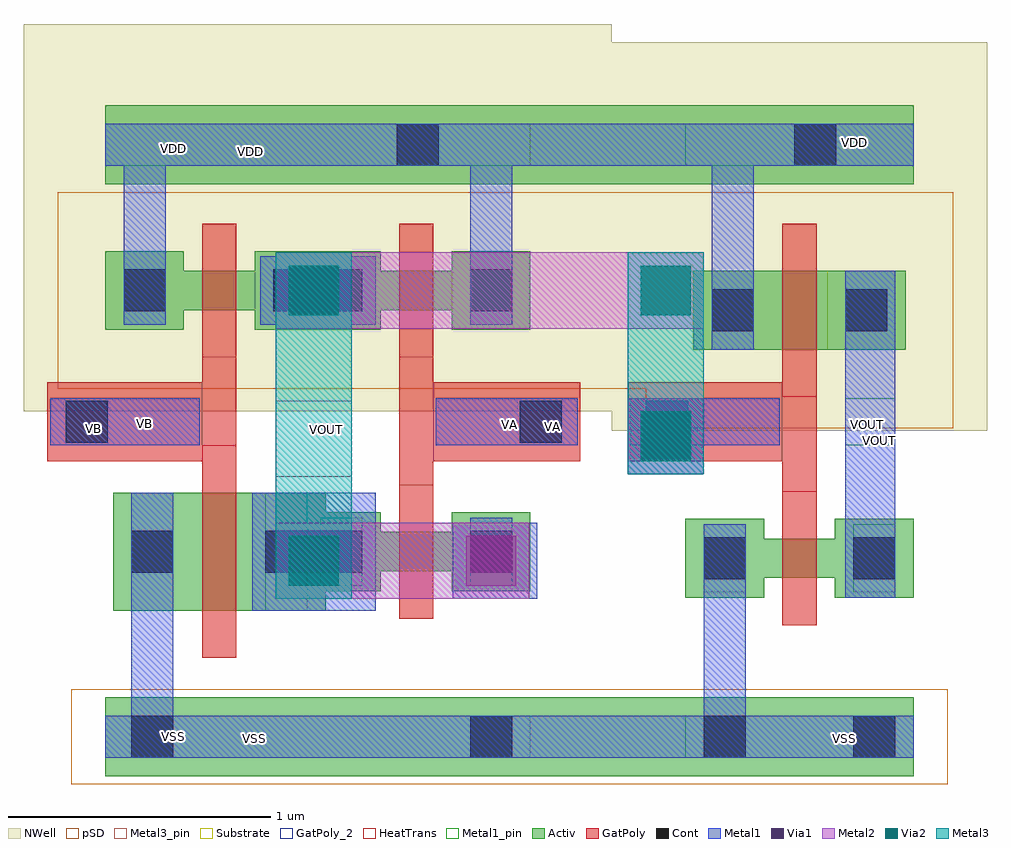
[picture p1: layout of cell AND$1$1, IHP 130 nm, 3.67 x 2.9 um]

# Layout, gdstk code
import gdstk
lib = gdstk.Library(unit=1e-6, precision=5e-09)
def R(c, l, rs):  # rectangles x0, y0, x1, y1
    for r in rs: c.add(gdstk.rectangle(r[:2], r[2:], *l))
Activ = (1, 0)
GatPoly = (5, 0)
GatPoly_2 = (5, 2)
Cont = (6, 0)
Metal1 = (8, 0)
Metal1_pin = (8, 2)
Metal2 = (10, 0)
pSD = (14, 0)
Via1 = (19, 0)
Via2 = (29, 0)
Metal3 = (30, 0)
Metal3_pin = (30, 2)
NWell = (31, 0)
Substrate = (40, 0)
HeatTrans = (51, 0)

nmos_2_1_1 = lib.new_cell('nmos$2$1$1')
R(nmos_2_1_1, Activ, [(0,0.01,0.3,0.31), (0.57,0.01,0.87,0.31), (0,0.085,0.87,0.235)])
R(nmos_2_1_1, GatPoly, [(0.37,-0.095,0.5,0.415)])
R(nmos_2_1_1, GatPoly_2, [(0.37,-0.095,0.5,0.415)])
R(nmos_2_1_1, Cont, [(0.07,0.08,0.23,0.24), (0.64,0.08,0.8,0.24)])
R(nmos_2_1_1, Metal1, [(0.07,0.03,0.23,0.29), (0.64,0.03,0.8,0.29)])
R(nmos_2_1_1, Metal1_pin, [(0.07,0.03,0.23,0.29), (0.64,0.03,0.8,0.29)])
R(nmos_2_1_1, HeatTrans, [(0.37,-0.095,0.5,0.415)])
nmos_2_1_1.add(gdstk.Label('nmos', (0.435,0.16), layer=63, texttype=0))
nmos_2_1_1.add(gdstk.Label('nmos', (0.435,0.16), layer=51, texttype=0))

pmos_3_3 = lib.new_cell('pmos$3$3')
R(pmos_3_3, Activ, [(0,0.01,0.3,0.31), (0.57,0.01,0.87,0.31), (0,0.085,0.87,0.235)])
R(pmos_3_3, GatPoly, [(0.37,-0.095,0.5,0.415), (0.37,-0.095,0.5,0.415)])
R(pmos_3_3, Cont, [(0.07,0.08,0.23,0.24), (0.64,0.08,0.8,0.24)])
R(pmos_3_3, Metal1, [(0.07,0.03,0.23,0.29), (0.07,0.03,0.23,0.29), (0.64,0.03,0.8,0.29), (0.64,0.03,0.8,0.29)])
R(pmos_3_3, pSD, [(-0.18,-0.215,1.05,0.535)])
R(pmos_3_3, NWell, [(-0.31,-0.3,1.18,0.61)])
R(pmos_3_3, Substrate, [(0.57,0.01,0.87,0.31)])
R(pmos_3_3, HeatTrans, [(0.37,-0.095,0.5,0.415)])
pmos_3_3.add(gdstk.Label('pmos', (0.435,0.16), layer=63, texttype=0))
pmos_3_3.add(gdstk.Label('pmos', (0.435,0.16), layer=51, texttype=0))

via1_constraint_1_2_1 = lib.new_cell('Via1_constraint$1$2$1')
R(via1_constraint_1_2_1, Metal1, [(-0.005,0.015,0.285,0.305)])
R(via1_constraint_1_2_1, Metal2, [(-0.005,0.015,0.285,0.305)])
R(via1_constraint_1_2_1, Via1, [(0.045,0.065,0.235,0.255)])

nmos_1_2_1 = lib.new_cell('nmos$1$2$1')
R(nmos_1_2_1, Activ, [(0,0.01,0.81,0.46), (0,0.01,0.3,0.31), (0.51,0.01,0.81,0.31)])
R(nmos_1_2_1, GatPoly, [(0.34,-0.17,0.47,0.64)])
R(nmos_1_2_1, GatPoly_2, [(0.34,-0.17,0.47,0.64)])
R(nmos_1_2_1, Cont, [(0.07,0.155,0.23,0.315), (0.58,0.155,0.74,0.315)])
R(nmos_1_2_1, Metal1, [(0.07,0.01,0.23,0.46), (0.58,0.01,0.74,0.46)])
R(nmos_1_2_1, Metal1_pin, [(0.07,0.01,0.23,0.46), (0.58,0.01,0.74,0.46)])
R(nmos_1_2_1, HeatTrans, [(0.34,-0.17,0.47,0.64)])
nmos_1_2_1.add(gdstk.Label('nmos', (0.405,0.235), layer=63, texttype=0))
nmos_1_2_1.add(gdstk.Label('nmos', (0.405,0.235), layer=51, texttype=0))

via2_constraint_1_2_1 = lib.new_cell('Via2_constraint$1$2$1')
R(via2_constraint_1_2_1, Metal2, [(0,0.01,0.29,0.3)])
R(via2_constraint_1_2_1, Via2, [(0.05,0.06,0.24,0.25)])
R(via2_constraint_1_2_1, Metal3, [(0,0.01,0.29,0.3)])

nand_1_1 = lib.new_cell('NAND$1$1')
R(nand_1_1, Activ, [(0.31,0.04,1.93,0.34), (0.31,2.295,1.93,2.595)])
R(nand_1_1, GatPoly, [(0.09,1.24,0.68,1.54), (1.56,1.24,2.12,1.54)])
R(nand_1_1, GatPoly_2, [(0.09,1.24,0.68,1.54), (1.56,1.24,2.12,1.54)])
R(nand_1_1, Cont, [(0.41,0.11,0.57,0.27), (1.7,0.11,1.86,0.27), (0.92,0.815,1.29,0.975), (0.16,1.31,0.32,1.47), (1.89,1.31,2.05,1.47), (0.95,1.81,1.29,1.97), (1.42,2.365,1.58,2.525)])
R(nand_1_1, Metal1, [(0.31,0.11,1.93,0.27), (0.87,0.67,1.34,1.12), (1.925,0.715,1.955,1.005), (0.1,1.3,0.67,1.48), (1.57,1.3,2.11,1.48), (0.9,1.76,1.34,2.02), (0.31,2.365,1.93,2.525)])
R(nand_1_1, Metal1_pin, [(0.31,0.11,1.93,0.27), (0.1,1.3,0.67,1.48), (1.57,1.3,2.11,1.48), (0.31,2.365,1.93,2.525)])
R(nand_1_1, pSD, [(0.18,0.01,2.06,0.37)])
R(nand_1_1, Metal3_pin, [(0.96,1.18,1.25,1.47)])
R(nand_1_1, NWell, [(0,2.34,2.24,2.905)])
nand_1_1.add(gdstk.FlexPath([(1.78,2.02),(1.78,2.365)], 0.16, ends="flush", simple_path=True, layer=8, datatype=0))  # Metal1
nand_1_1.add(gdstk.FlexPath([(0.46,2.02),(0.46,2.365)], 0.16, ends="flush", simple_path=True, layer=8, datatype=0))  # Metal1
nand_1_1.add(gdstk.FlexPath([(0.49,0.67),(0.49,0.27)], 0.16, ends="flush", simple_path=True, layer=8, datatype=0))  # Metal1
nand_1_1.add(gdstk.FlexPath([(0.745,1.635),(0.745,1.3)], 0.13, ends="flush", simple_path=True, layer=5, datatype=0))  # GatPoly
nand_1_1.add(gdstk.FlexPath([(1.495,1.635),(1.495,1.15)], 0.13, ends="flush", simple_path=True, layer=5, datatype=0))  # GatPoly
nand_1_1.add(gdstk.FlexPath([(1.635,0.86),(1.25,0.86)], 0.29, ends="flush", simple_path=True, layer=10, datatype=0))  # Metal2
nand_1_1.add(gdstk.FlexPath([(1.105,1.005),(1.105,1.745)], 0.29, ends="flush", simple_path=True, layer=30, datatype=0))  # Metal3
nand_1_1.add(gdstk.Reference(nmos_2_1_1, (1.06,0.735)))
nand_1_1.add(gdstk.Reference(pmos_3_3, (0.31,1.73)))
nand_1_1.add(gdstk.Reference(pmos_3_3, (1.06,1.73)))
nand_1_1.add(gdstk.Reference(via1_constraint_1_2_1, (0.965,1.73)))
nand_1_1.add(gdstk.Reference(via1_constraint_1_2_1, (1.64,0.7)))
nand_1_1.add(gdstk.Reference(nmos_1_2_1, (0.34,0.66)))
nand_1_1.add(gdstk.Reference(via2_constraint_1_2_1, (0.96,0.705)))
nand_1_1.add(gdstk.Reference(via2_constraint_1_2_1, (0.96,1.735)))
nand_1_1.add(gdstk.Label('VDD', (0.4,2.44), layer=8, texttype=25))
nand_1_1.add(gdstk.Label('VSS', (0.4,0.185), layer=8, texttype=25))
nand_1_1.add(gdstk.Label('VA', (1.95,1.365), layer=8, texttype=25))
nand_1_1.add(gdstk.Label('VB', (0.265,1.37), layer=8, texttype=25))

nmos_5_1 = lib.new_cell('nmos$5$1')
R(nmos_5_1, Activ, [(0,-0.025,0.3,0.275), (0.57,-0.025,0.87,0.275), (0,0.05,0.87,0.2)])
R(nmos_5_1, GatPoly, [(0.37,-0.13,0.5,0.38)])
R(nmos_5_1, GatPoly_2, [(0.37,-0.13,0.5,0.38)])
R(nmos_5_1, Cont, [(0.07,0.045,0.23,0.205), (0.64,0.045,0.8,0.205)])
R(nmos_5_1, Metal1, [(0.07,-0.005,0.23,0.255), (0.64,-0.005,0.8,0.255)])
R(nmos_5_1, Metal1_pin, [(0.07,-0.005,0.23,0.255), (0.64,-0.005,0.8,0.255)])
R(nmos_5_1, HeatTrans, [(0.37,-0.13,0.5,0.38)])
nmos_5_1.add(gdstk.Label('nmos', (0.435,0.125), layer=63, texttype=0))
nmos_5_1.add(gdstk.Label('nmos', (0.435,0.125), layer=51, texttype=0))

pmos_1_3_1 = lib.new_cell('pmos$1$3$1')
R(pmos_1_3_1, Activ, [(0,0,0.81,0.3), (0,0,0.3,0.3), (0.51,0,0.81,0.3)])
R(pmos_1_3_1, GatPoly, [(0.34,-0.18,0.47,0.48), (0.34,-0.18,0.47,0.48)])
R(pmos_1_3_1, Cont, [(0.07,0.07,0.23,0.23), (0.58,0.07,0.74,0.23)])
R(pmos_1_3_1, Metal1, [(0.07,0,0.23,0.3), (0.07,0,0.23,0.3), (0.58,0,0.74,0.3), (0.58,0,0.74,0.3)])
R(pmos_1_3_1, pSD, [(-0.18,-0.3,0.99,0.6)])
R(pmos_1_3_1, NWell, [(-0.31,-0.31,1.12,0.61)])
R(pmos_1_3_1, Substrate, [(0.51,0,0.81,0.3)])
R(pmos_1_3_1, HeatTrans, [(0.34,-0.18,0.47,0.48)])
pmos_1_3_1.add(gdstk.Label('pmos', (0.405,0.15), layer=63, texttype=0))
pmos_1_3_1.add(gdstk.Label('pmos', (0.405,0.15), layer=51, texttype=0))

inv_d1_3_1 = lib.new_cell('INV_D1$3$1')
R(inv_d1_3_1, Activ, [(-0.445,-1.44,0.425,-1.14), (-0.445,0.815,0.425,1.115)])
R(inv_d1_3_1, GatPoly, [(-0.665,-0.24,-0.075,0.06), (-0.075,-0.21,0.055,0.005)])
R(inv_d1_3_1, GatPoly_2, [(-0.665,-0.24,-0.075,0.06)])
R(inv_d1_3_1, Cont, [(-0.375,-1.37,-0.215,-1.21), (0.195,-1.37,0.355,-1.21), (-0.595,-0.17,-0.435,-0.01), (-0.03,0.885,0.13,1.045)])
R(inv_d1_3_1, Metal1, [(-0.445,-1.37,0.425,-1.21), (-0.655,-0.18,-0.085,0), (-0.445,0.885,0.425,1.045)])
R(inv_d1_3_1, Metal1_pin, [(-0.445,-1.37,0.425,-1.21), (-0.655,-0.18,-0.085,0), (0.165,-0.18,0.355,0), (-0.445,0.885,0.425,1.045)])
R(inv_d1_3_1, pSD, [(-0.575,-1.47,0.555,-1.11)])
R(inv_d1_3_1, NWell, [(-0.725,0.795,0.705,1.355)])
R(inv_d1_3_1, Substrate, [(0.095,0.185,0.395,0.485)])
inv_d1_3_1.add(gdstk.FlexPath([(-0.265,0.485),(-0.265,1.045)], 0.16, ends="flush", simple_path=True, layer=8, datatype=0))  # Metal1
inv_d1_3_1.add(gdstk.FlexPath([(0.26,-0.76),(0.26,0.485)], 0.19, ends="flush", simple_path=True, layer=8, datatype=0))  # Metal1
inv_d1_3_1.add(gdstk.FlexPath([(-0.295,-0.48),(-0.295,-1.37)], 0.16, ends="flush", simple_path=True, layer=8, datatype=0))  # Metal1
inv_d1_3_1.add(gdstk.FlexPath([(-0.01,-0.21),(-0.01,-0.355)], 0.13, ends="flush", simple_path=True, layer=5, datatype=0))  # GatPoly
inv_d1_3_1.add(gdstk.Reference(nmos_5_1, (-0.445,-0.735)))
inv_d1_3_1.add(gdstk.Reference(pmos_1_3_1, (-0.415,0.185)))
inv_d1_3_1.add(gdstk.Label('nmos', (-0.01,-0.69), layer=63, texttype=0))
inv_d1_3_1.add(gdstk.Label('VDD', (-0.07,0.96), layer=8, texttype=25))
inv_d1_3_1.add(gdstk.Label('VSS', (-0.075,-1.295), layer=8, texttype=25))

via2_constraint_4_1 = lib.new_cell('Via2_constraint$4$1')
R(via2_constraint_4_1, Metal2, [(0,0,0.29,0.29)])
R(via2_constraint_4_1, Via2, [(0.05,0.05,0.24,0.24)])
R(via2_constraint_4_1, Metal3, [(0,0,0.29,0.29)])

via1_constraint_4_1 = lib.new_cell('Via1_constraint$4$1')
R(via1_constraint_4_1, Metal1, [(0,0,0.29,0.29)])
R(via1_constraint_4_1, Metal2, [(0,0,0.29,0.29)])
R(via1_constraint_4_1, Via1, [(0.05,0.05,0.24,0.24)])

and_1_1 = lib.new_cell('AND$1$1')
R(and_1_1, Activ, [(1.93,0.03,2.52,0.33), (1.93,2.285,2.52,2.585)])
R(and_1_1, Metal1, [(1.93,0.1,2.52,0.26), (1.93,2.355,2.52,2.515)])
R(and_1_1, pSD, [(2.06,0,2.39,0.36), (2.11,1.505,2.37,2.255)])
and_1_1.add(gdstk.FlexPath([(2.3,1.88),(1.25,1.88)], 0.29, ends="flush", simple_path=True, layer=10, datatype=0))  # Metal2
and_1_1.add(gdstk.FlexPath([(2.445,1.735),(2.445,1.47)], 0.29, ends="flush", simple_path=True, layer=30, datatype=0))  # Metal3
and_1_1.add(gdstk.Reference(nand_1_1, (0,-0.01)))
and_1_1.add(gdstk.Reference(inv_d1_3_1, (2.965,1.47)))
and_1_1.add(gdstk.Reference(via2_constraint_4_1, (2.3,1.735)))
and_1_1.add(gdstk.Reference(via2_constraint_4_1, (2.3,1.18)))
and_1_1.add(gdstk.Reference(via1_constraint_4_1, (2.3,1.18)))
and_1_1.add(gdstk.Label('VDD', (3.165,2.445), layer=8, texttype=2))
and_1_1.add(gdstk.Label('VSS', (3.125,0.175), layer=8, texttype=2))
and_1_1.add(gdstk.Label('VSS', (0.88,0.175), layer=8, texttype=2))
and_1_1.add(gdstk.Label('VDD', (0.865,2.41), layer=8, texttype=2))
and_1_1.add(gdstk.Label('VB', (0.46,1.375), layer=8, texttype=2))
and_1_1.add(gdstk.Label('VA', (1.85,1.37), layer=8, texttype=2))
and_1_1.add(gdstk.Label('VOUT', (3.215,1.37), layer=8, texttype=2))
and_1_1.add(gdstk.Label('VSS', (0.57,0.18), layer=8, texttype=25))
and_1_1.add(gdstk.Label('VDD', (0.57,2.42), layer=8, texttype=25))
and_1_1.add(gdstk.Label('VA', (2.015,1.36), layer=8, texttype=25))
and_1_1.add(gdstk.Label('VB', (0.265,1.355), layer=8, texttype=25))
and_1_1.add(gdstk.Label('VOUT', (3.26,1.31), layer=8, texttype=25))
and_1_1.add(gdstk.Label('VOUT', (1.155,1.35), layer=30, texttype=2))

lib.write_gds('AND_1_1.gds')
